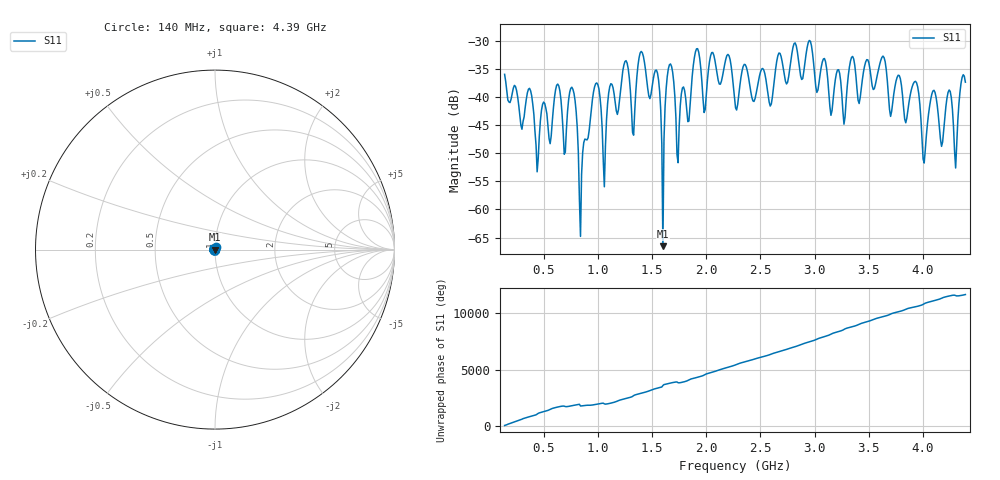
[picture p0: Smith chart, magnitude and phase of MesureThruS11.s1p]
! 140 4400 10
# MHz S MA R 50.0
!freq ReS11 ImS11
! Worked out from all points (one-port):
!   426 points, 140 MHz to 4.39 GHz, reference 50 ohm
!   lowest |S11| = -66.5 dB at 1.6 GHz (marker M1), VSWR 1.00, Z = 50 - j0.00246 ohm
!   |S11| at or under -10 dB: start of sweep to end of sweep
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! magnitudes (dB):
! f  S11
! 140 MHz  -36.0
! 380 MHz  -38.9
! 440 MHz  -53.3
! 630 MHz  -37.7
! 680 MHz  -46.2
! 770 MHz  -38.7
! 840 MHz  -64.8
! 980 MHz  -37.7
! 1.06 GHz  -56.0
! 1.11 GHz  -38.2
! 1.21 GHz  -38.6
! 1.54 GHz  -35.2
! 1.6 GHz  -66.5
! 1.66 GHz  -34.3
! 1.74 GHz  -51.7
! 1.91 GHz  -31.5
! 1.98 GHz  -42.8
! 2.06 GHz  -32.1
! 2.27 GHz  -41.9
! 2.8 GHz  -31.2
! 3.27 GHz  -44.8
! 3.33 GHz  -33.6
! 3.86 GHz  -42.3
! 3.94 GHz  -37.5
! 4.01 GHz  -51.8
! 4.24 GHz  -38.8
! 4.3 GHz  -52.6
! 4.39 GHz  -37.4
